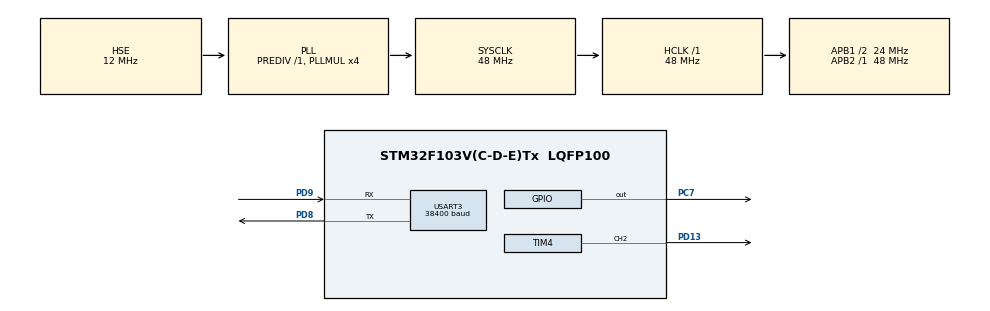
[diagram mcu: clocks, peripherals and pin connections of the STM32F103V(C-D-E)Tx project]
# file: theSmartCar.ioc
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Mcu.Family=STM32F1
Mcu.Name=STM32F103V(C-D-E)Tx
Mcu.Package=LQFP100
NVIC.PriorityGroup=NVIC_PRIORITYGROUP_4
NVIC.USART3_IRQn=true\:2\:0\:true\:false\:true\:true\:true
OSC_IN.Mode=HSE-External-Clock-Source
OSC_IN.Signal=RCC_OSC_IN
OSC_OUT.Mode=HSE-External-Clock-Source
OSC_OUT.Signal=RCC_OSC_OUT
PA13.Mode=JTAG_4_pins
PA13.Signal=SYS_JTMS-SWDIO
PA14.Mode=JTAG_4_pins
PA14.Signal=SYS_JTCK-SWCLK
PA15.Mode=JTAG_4_pins
PA15.Signal=SYS_JTDI
PB3.Mode=JTAG_4_pins
PB3.Signal=SYS_JTDO-TRACESWO
PC7.Signal=GPIO_Output
PD13.Signal=S_TIM4_CH2
PD8.Mode=Asynchronous
PD8.Signal=USART3_TX
PD9.Mode=Asynchronous
PD9.Signal=USART3_RX
ProjectManager.HeapSize=0x200
ProjectManager.StackSize=0x400
ProjectManager.TargetToolchain=STM32CubeIDE
RCC.AHBFreq_Value=48000000
RCC.APB1CLKDivider=RCC_HCLK_DIV2
RCC.APB1Freq_Value=24000000
RCC.APB1TimFreq_Value=48000000
RCC.APB2Freq_Value=48000000
RCC.APB2TimFreq_Value=48000000
RCC.HCLKFreq_Value=48000000
RCC.HSE_VALUE=12000000
RCC.PLLMUL=RCC_PLL_MUL4
RCC.PLLSourceVirtual=RCC_PLLSOURCE_HSE
RCC.SYSCLKFreq_VALUE=48000000
RCC.SYSCLKSource=RCC_SYSCLKSOURCE_PLLCLK
RCC.USBFreq_Value=48000000
SH.S_TIM4_CH2.0=TIM4_CH2,PWM Generation2 CH2
TIM4.AutoReloadPreload=TIM_AUTORELOAD_PRELOAD_DISABLE
TIM4.Channel-PWM\ Generation2\ CH2=TIM_CHANNEL_2
TIM4.Period=\ 999
TIM4.Prescaler=48000-1
TIM4.Pulse-PWM\ Generation2\ CH2=500
USART3.BaudRate=38400
USART3.VirtualMode=VM_ASYNC
VP_TIM4_VS_ClockSourceINT.Mode=Internal
board=custom

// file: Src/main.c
/* USER CODE BEGIN Header */
/**
  ******************************************************************************
  * @file           : main.c
  * @brief          : Main program body
  ******************************************************************************
  * @attention
  *
  * <h2><center>&copy; Copyright (c) 2020 STMicroelectronics.
  * All rights reserved.</center></h2>
  *
  * This software component is licensed by ST under BSD 3-Clause license,
  * the "License"; You may not use this file except in compliance with the
  * License. You may obtain a copy of the License at:
  *                        opensource.org/licenses/BSD-3-Clause
  *
  ******************************************************************************
  */
/* USER CODE END Header */

#include "main.h"
#include "tim.h"
#include "usart.h"
#include "gpio.h"

void SystemClock_Config(void);

/* USER CODE BEGIN 0 */
uint8_t date_receive[2]= {0};
/* USER CODE END 0 */

int main(void)
{
  /* USER CODE BEGIN 1 */

	uint8_t dir = 1;
//	uint8_t tmp = 0;
	uint16_t ledPWMval = 1;
  /* USER CODE END 1 */

  /* MCU Configuration--------------------------------------------------------*/

  /* Reset of all peripherals, Initializes the Flash interface and the Systick. */
  HAL_Init();

  /* Configure the system clock */
  SystemClock_Config();

  /* Initialize all configured peripherals */
  MX_GPIO_Init();
  MX_USART3_UART_Init();
  MX_TIM4_Init();
  /* USER CODE BEGIN 2 */
//  HAL_UART_Receive_IT(USART3,date_receive,1);

  HAL_TIM_PWM_Start(&htim4,TIM_CHANNEL_2 );
  HAL_GPIO_WritePin(GPIOC, GPIO_PIN_7, GPIO_PIN_SET);
  /* USER CODE END 2 */

  /* Infinite loop */
  /* USER CODE BEGIN WHILE */
  while (1)
  {
//	  if(ledPWMval==0)
//		  HAL_GPIO_TogglePin(GPIOD, GPIO_PIN_12);
	  if(dir)
		  ledPWMval++;
	  else
		  ledPWMval--;

	  if(ledPWMval==900){
		  dir=0;
		  HAL_GPIO_WritePin(GPIOC, GPIO_PIN_7, GPIO_PIN_RESET);
	  }
	  if(ledPWMval==0){
		  dir = 1;
		  HAL_GPIO_WritePin(GPIOC, GPIO_PIN_7, GPIO_PIN_SET);
	  }
	  HAL_Delay(1);
	  TIM4->CCR2=ledPWMval;

//
//	  delay_ms(10);
//	  if(dir)led0pwmval++; //dir==1 led0pwmval 递增
//	  else led0pwmval--; //dir==0 led0pwmval 递减
//	  if(led0pwmval>300)dir=0; //led0pwmval 到达 300 后，方向为�?�减
//	  if(led0pwmval==0)dir=1; //led0pwmval 递减�? 0 后，方向改为递增
//	  TIM_SetTIM3Compare4(led0pwmval);//修改比较值，修改占空�?

    /* USER CODE END WHILE */

  }
}

void SystemClock_Config(void)
{
  RCC_OscInitTypeDef RCC_OscInitStruct = {0};
  RCC_ClkInitTypeDef RCC_ClkInitStruct = {0};

  /** Initializes the CPU, AHB and APB busses clocks
  */
  RCC_OscInitStruct.OscillatorType = RCC_OSCILLATORTYPE_HSE;
  RCC_OscInitStruct.HSEState = RCC_HSE_BYPASS;
  RCC_OscInitStruct.HSEPredivValue = RCC_HSE_PREDIV_DIV1;
  RCC_OscInitStruct.HSIState = RCC_HSI_ON;
  RCC_OscInitStruct.PLL.PLLState = RCC_PLL_ON;
  RCC_OscInitStruct.PLL.PLLSource = RCC_PLLSOURCE_HSE;
  RCC_OscInitStruct.PLL.PLLMUL = RCC_PLL_MUL4;
  if (HAL_RCC_OscConfig(&RCC_OscInitStruct) != HAL_OK)
  {
    Error_Handler();
  }
  /** Initializes the CPU, AHB and APB busses clocks
  */
  RCC_ClkInitStruct.ClockType = RCC_CLOCKTYPE_HCLK|RCC_CLOCKTYPE_SYSCLK
                              |RCC_CLOCKTYPE_PCLK1|RCC_CLOCKTYPE_PCLK2;
  RCC_ClkInitStruct.SYSCLKSource = RCC_SYSCLKSOURCE_PLLCLK;
  RCC_ClkInitStruct.AHBCLKDivider = RCC_SYSCLK_DIV1;
  RCC_ClkInitStruct.APB1CLKDivider = RCC_HCLK_DIV2;
  RCC_ClkInitStruct.APB2CLKDivider = RCC_HCLK_DIV1;

  if (HAL_RCC_ClockConfig(&RCC_ClkInitStruct, FLASH_LATENCY_1) != HAL_OK)
  {
    Error_Handler();
  }
}

void Error_Handler(void)
{
}

/************************ (C) COPYRIGHT STMicroelectronics *****END OF FILE****/
